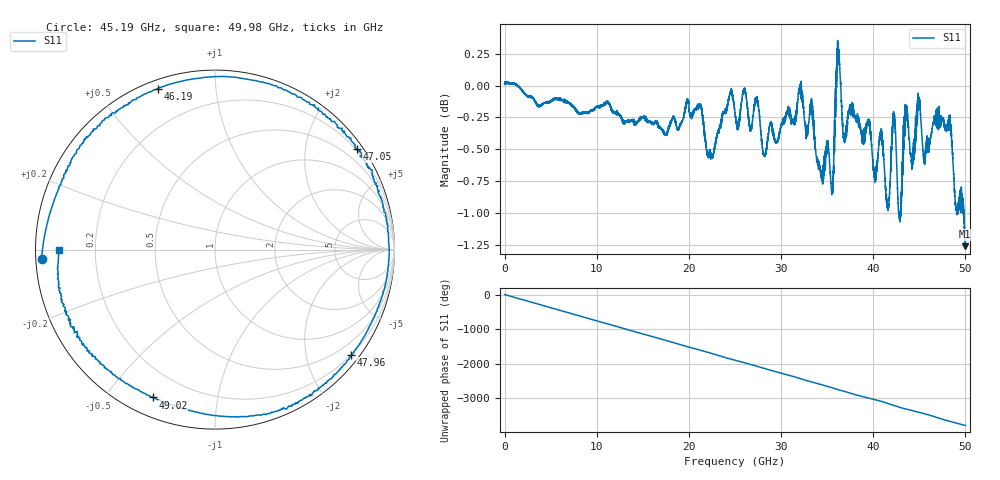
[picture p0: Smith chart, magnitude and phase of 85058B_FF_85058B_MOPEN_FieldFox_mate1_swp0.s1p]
!Created with skrf (http://scikit-rf.org).
# Hz S RI R 50.0
!freq ReS11 ImS11
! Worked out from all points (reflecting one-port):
!   10001 points, 300 kHz to 50 GHz, reference 50 ohm
!   lowest |S11| = -1.3 dB at 49.99 GHz (marker M1), VSWR 13.80, Z = 3.62 + j0.0477 ohm
!   phase of S11 starts at 0 deg and turns -3781 deg over the sweep
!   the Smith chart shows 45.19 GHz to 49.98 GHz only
!   S11 on the Smith chart (normalised r, x): 45.19 GHz: 0.02, -0.03; 46.19 GHz: 0.04, +0.71; 47.05 GHz: 0.18, +3.14; 47.96 GHz: 0.19, -2.92; 49.02 GHz: 0.08, -0.66; 49.98 GHz: 0.07, -0.00
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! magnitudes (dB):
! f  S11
! 300 kHz  0.0
! 6.25 GHz  -0.1
! 12.5 GHz  -0.2
! 18.75 GHz  -0.3
! 21.15 GHz  -0.2
! 22.41 GHz  -0.6
! 25 GHz  -0.2
! 28.21 GHz  -0.6
! 31.25 GHz  -0.3
! 32.11 GHz  0.0
! 35.47 GHz  -0.8
! 36.18 GHz  0.3
! 36.85 GHz  -0.4
! 37.5 GHz  -0.2
! 40.19 GHz  -0.7
! 40.87 GHz  -0.4
! 41.56 GHz  -1.0
! 42.26 GHz  -0.2
! 42.86 GHz  -1.0
! 43.75 GHz  -0.3
! 45.19 GHz  -0.3
! 46.19 GHz  -0.4
! 47.05 GHz  -0.3
! 47.96 GHz  -0.4
! 49.02 GHz  -1.0
! 49.98 GHz  -1.2
! 49.99 GHz  -1.3
! 50 GHz  -1.3
